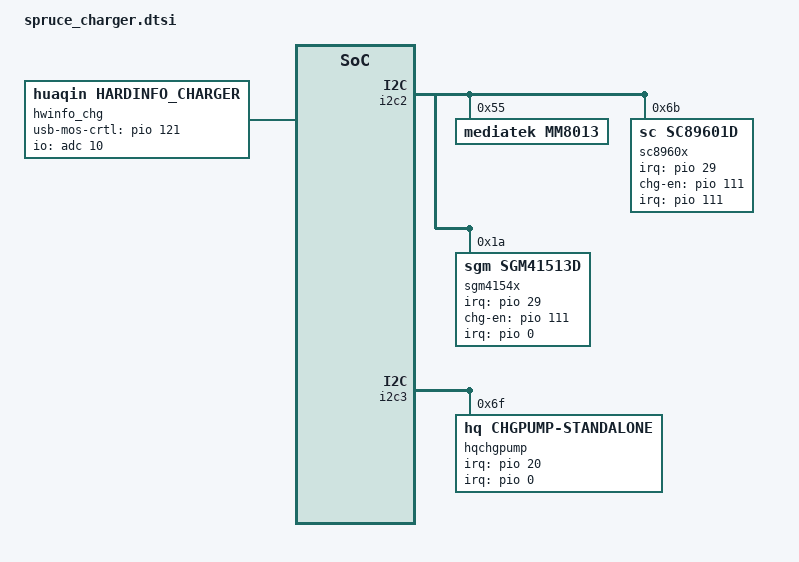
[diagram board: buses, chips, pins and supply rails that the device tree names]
// SPDX-License-Identifier: GPL-2.0
/*
 * Copyright (c) 2021 MediaTek Inc.
 */
// gauge
&bat_gm30 {
    DISABLE_MTKBATTERY=<1>;
};

// hwinfo
/ {
     hwinfo_chg:HardwareInfo_chg {
          compatible = "huaqin,hardinfo_charger";
          status = "okay";
          io-channels = <&adc 10>;
          io-channel-names = "usb_burning_ntc";
          usb-mos-crtl-gpio = <&pio 121 0x0>;
          /* thermal */
          /* Spruce code for OSPURCET-834 by tangsf2 at 2023.01.29 start */
          battery,thermal-mitigation-20w = <4000000 3900000 3800000 3600000 3200000 2800000 2400000 2000000 1800000 1600000 1400000 1200000 1000000 800000 600000 500000 400000 300000>;
          battery,thermal-mitigation-30w = <6000000 5450000 5300000 5000000 4600000 4200000 3800000 3400000 3200000 3000000 2800000 2600000 2400000 2400000 2200000 2100000 1800000 1500000>;
          /* Spruce code for OSPURCET-834 by tangsf2 at 2023.01.29 end */
     };
};

&i2c2{
	mm8013: mm8013@55 {
        compatible = "mediatek,mm8013";
        reg = <0x55>;
        status = "okay";
	};
};

&lk_charger {
    fast_charge_voltage = <3200000>; // precharge for lenovo of low bat threshold
    DISABLE_MTKBATTERY=<1>;
};

// charge pump
&i2c3 {
     hqchgpump: hqchgpump@6F {
          status = "okay";
            compatible = "hq,chgpump-standalone";
            reg = <0x6F>;

            // sgm
            interrupt-parent = <&pio>;
            interrupts = <0 0>;            //irq num base on hardware design
            sgm,irq-gpio = <&pio 20 0>;     //irq num base on hardware design
            sgm,sgm41600,bat-ovp-disable = <1>;
            sgm,sgm41600,bat-ocp-disable = <1>;
            sgm,sgm41600,vdrop-ovp-disable = <1>;
            sgm,sgm41600,bus-ovp-disable = <1>;
            sgm,sgm41600,bus-ucp-disable = <1>;
            sgm,sgm41600,bus-ocp-disable = <1>;
            sgm,sgm41600,bat-ovp-threshold = <4525000>; //uV
            sgm,sgm41600,bat-ocp-threshold = <7000000>;  //uA
            sgm,sgm41600,ac-ovp-threshold = <12>;  //V
            sgm,sgm41600,bus-ovp-threshold = <11000000>;  //uV
            sgm,sgm41600,bus-ocp-threshold = <3500000>;   //uA
            sgm,mode = <0>; // 0 alone 1 master 2 slave

            //sc
            sc,sc854x,irq-gpio = <&pio 20 IRQ_TYPE_EDGE_FALLING>;
            sc,sc854x,bat-ovp-disable = <1>;
            sc,sc854x,bat-ocp-disable = <1>;
            sc,sc854x,vdrop-ovp-disable = <1>;
            sc,sc854x,bus-ovp-disable = <1>;
            sc,sc854x,bus-ucp-disable = <1>;
            sc,sc854x,bus-ocp-disable = <1>;
            sc,sc854x,bat-ovp-threshold = <4525>;/*mv*/
            sc,sc854x,bat-ocp-threshold = <7000>;/*ma*/
            sc,sc854x,ac-ovp-threshold = <12000>;/*mv*/
            sc,sc854x,bus-ovp-threshold = <11000>;/*mv*/
            sc,sc854x,bus-ocp-threshold = <3500>;/*ma*/
            sc,sc854x,sense-resistor-mohm = <5>;/*mΩ*/
            sc,mode = <9>; // sc,sc8549-standalone
     };
};

// buck charge
&i2c2 {
     sc8960x@6B {
          compatible = "sc,sc89601d";
          reg = <0x6B>;
          interrupt-parent = <&pio>;
          interrupts = <111 IRQ_TYPE_EDGE_FALLING>;
          sc,irq-gpio = <&pio 29 0>;
          charger_name = "secondary_chg";
          sc,chg-en-gpio = <&pio 111 0>;

          sc,sc8960x,charge-detect-enable;
          sc,sc8960x,usb-vlim = <4600>;
          sc,sc8960x,usb-ilim = <500>;
          sc,sc8960x,usb-vreg = <4400>;
          sc,sc8960x,usb-ichg = <500>;

          sc,sc8960x,precharge-current = <256>;
          sc,sc8960x,termination-current = <60>;
          sc,sc8960x,boost-voltage = <4998>;
          sc,sc8960x,boost-current = <1200>;
          sc,sc8960x,stat-pin-ctrl = <3>;

          sc,sc8960x,vac-ovp-threshold = <14000>;
     };

     sgm4154x: sgm4154x@1A {
          status = "okay";

          compatible = "sgm,sgm41513D";
          reg = <0x1A>;
          interrupt-parent = <&pio>;
          interrupts = <0 0>;           //irq num base on hardware design
          sgm,irq-gpio = <&pio 29 0>;     //irq num base on hardware design
          sgm,chg-en-gpio = <&pio 111 0>;   //gpio num base on hardware design  1.MTK parent node name is pio  2.QUALCOMM parent node name is tlmm or other

          /* sw jeita  parameter customer defined*/
          enable_sw_jeita;
          jeita_temp_above_t4_cv = <0>;
          jeita_temp_t3_to_t4_cv = <4100000>;
          jeita_temp_t2_to_t3_cv = <4350000>;
          jeita_temp_t1_to_t2_cv = <4350000>;
          jeita_temp_t0_to_t1_cv = <0>;
          jeita_temp_below_t0_cv = <0>;

          jeita_temp_above_t4_cc_current = <0>;
          jeita_temp_t3_to_t4_cc_current = <1000000>;
          jeita_temp_t2_to_t3_cc_current = <1250000>;
          jeita_temp_t1_to_t2_cc_current = <1000000>;
          jeita_temp_below_t0_cc_current = <0>;

          temp_t4_thres = <50>;
          temp_t4_thres_minus_x_degree = <48>;
          temp_t3_thres = <45>;
          temp_t3_thres_minus_x_degree = <45>;
          temp_t2_thres = <20>;
          temp_t2_thres_plus_x_degree = <15>;
          temp_t1_thres = <0>;
          temp_t1_thres_plus_x_degree = <0>;
          temp_t0_thres = <0>;
          temp_t0_thres_plus_x_degree = <2>;
          temp_neg_10_thres = <0>;
     };
};
/* Spruce code for OSPURCET-344 by zhangjb18 at 2022.12.07 start */
&mt6360_chg {
     cv = <4450000>;
     ieoc = <500000>;
};
/* Spruce code for OSPURCET-344 by zhangjb18 at 2022.12.07 end */
&lk_charger {
    fast_charge_voltage = <3200000>; // precharge for lenovo of low bat threshold
};

&charger {
     /* common */
     algorithm_name = "DualSwitchCharging";
     battery_cv = <4450000>;
     max_charger_voltage = <12000000>;
     /* charging current */
     ac_charger_current = <2050000>;
     ac_charger_input_current = <2100000>;

     /* sw jeita */
     // common
     temp_t4_thres = <50>;
     temp_t4_thres_minus_x_degree = <48>;
     temp_t3_thres = <45>;
     temp_t3_thres_minus_x_degree = <43>;
     temp_t2_thres = <15>;
     temp_t2_thres_plus_x_degree = <17>;
     temp_t1_thres = <5>;
     temp_t1_thres_plus_x_degree = <7>;
     temp_t0_thres = <0>;
     /* Spruce code for OSPURCET-3205 by gujy6 at 2023.03.13 start */
     temp_t0_thres_plus_x_degree = <0>;
     /* Spruce code for OSPURCET-3205 by gujy6 at 2023.03.13 end */
     temp_neg_10_thres = <0>;
     // common charger jeita
     enable_sw_jeita;
     jeita_temp_above_t4_cv = <4200000>;
     jeita_temp_t3_to_t4_cv = <4200000>;
     jeita_temp_t2_to_t3_cv = <4450000>;
     jeita_temp_t1_to_t2_cv = <4450000>;
     jeita_temp_t0_to_t1_cv = <4450000>;
     jeita_temp_below_t0_cv = <4450000>;
     jeita_temp_above_t4_cur = <0>;
     jeita_temp_t3_to_t4_cur = <3000000>;
     jeita_temp_t2_to_t3_cur = <6000000>;
     jeita_temp_t1_to_t2_cur = <3000000>;
     jeita_temp_t0_to_t1_cur = <3000000>;
     jeita_temp_below_t0_cur = <0>;

     ffc_battery_cv = <4480000>;
     ffc_vrecharge = <4380000>;
     ffc_jeita_temp_above_t3_cv = <4200000>;
     ffc_jeita_temp_t0_to_t3_cv = <4480000>;
     ffc_jeita_temp_t0_to_t2_0_4420mv_cur = <3000000>;
     ffc_jeita_temp_t0_to_t2_4420_4480mv_cur = <1500000>;
     ffc_jeita_temp_t0_to_t2_cutoff_cur = <1200000>;
     ffc_jeita_temp_t2_to_t3_cutoff_cur = <1700000>;
     ffc_jeita_temp_t3_to_t4_cutoff_cur = <500000>;


     /* pe+2.0 */
     enable_pe_2;
     /* dual charger */
     /* Spruce code for OSPURCET-344 by zhangjb18 at 2022.12.27 start */
     chg1_ta_ac_charger_current = <2500000>;
     chg2_ta_ac_charger_current = <1500000>;
     /* Spruce code for OSPURCET-344 by zhangjb18 at 2022.12.27 end */
     /* Spruce code for OSPURCET-344 by zhangjb18 at 2022.12.08 start */
     ta_stop_battery_soc = <95>;
     /* Spruce code for OSPURCET-344 by zhangjb18 at 2022.12.08 end */

     /* PD */
     pd_vbus_low_bound = <5000000>;
     pd_vbus_upper_bound = <10000000>;
     /* Spruce code for OSPURCET-344 by zhangjb18 at 2022.12.08 start */
     pd_stop_battery_soc = <95>;
     /* Spruce code for OSPURCET-344 by zhangjb18 at 2022.12.08 end */
};

/*Spruce code for OSPURCET-40 by liugong2 at 20221201 start*/
&adc {
     ntc-table = <99912021 99905474 99898495 99891059 99883140 99874710				/* -40 */
		  99865741 99856204 99846066 99835295 99823858 99811717
		  99498836 99785176 99770696 99755354 99739070 99721830
		  99703586 99684289 99663885 99642320 99619538 99595481
		  99570086 99543292 99515031 99485236 99453835 99420756
		  99385923 99349199 99310558 99269914 99227182 99182270
		  99135149 99085662 99033710 98979189 98921995 98861952
		  98799013 98733063 98663985 98591656 98515952 98436745
		  98353902 98267290 98176770 98082200 97983437 97880331
		  97772733 97660487 97543385 97421326 97294147 97161683
		  97023765 96880242 96730920 96575619 96414167 96246382
		  96072084 95891441 95703946 95509418 95307666 95098545
		  94881844 94657374 94424963 94184422 93935570 93678228
		  93412217 93137356 92853467 92560633 92258481 91946872
		  91625611 91294589 90953287 90601850 90245135 89868052
		  89486340 89093685 88689923 88275348 87849890 87413432
		  86965923 86507310 86037589 85556661 85064524 84561252
		  84046694 83521016 82984153 82436273 81878535 81309992
		  80730684 80140684 79540218 78927886 78305251 77672395
		  77029601 76377120 75716824 75047223 74368883 73681675
		  72986075 72282353 71570927 70851744 70125537 69392588
		  68652852 67907210 67155483 66398774 65636753 64872696
		  64105047 63333186 62558055 61780256 60996854 60210801
		  59423330 58634429 57844412 57057301 56269748 55482839
		  54696649 53911688 53128423 52346688 51567385 50790189
		  50016548 49246007 48479315 47716509 46957536 46203725
		  45458748 44718768 43984234 42533147 41812988 41099506
		  40392043 39691670 38997586
                 >; /* 125 */
};
/*Spruce code for OSPURCET-40 by liugong2 at 20221201 end*/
